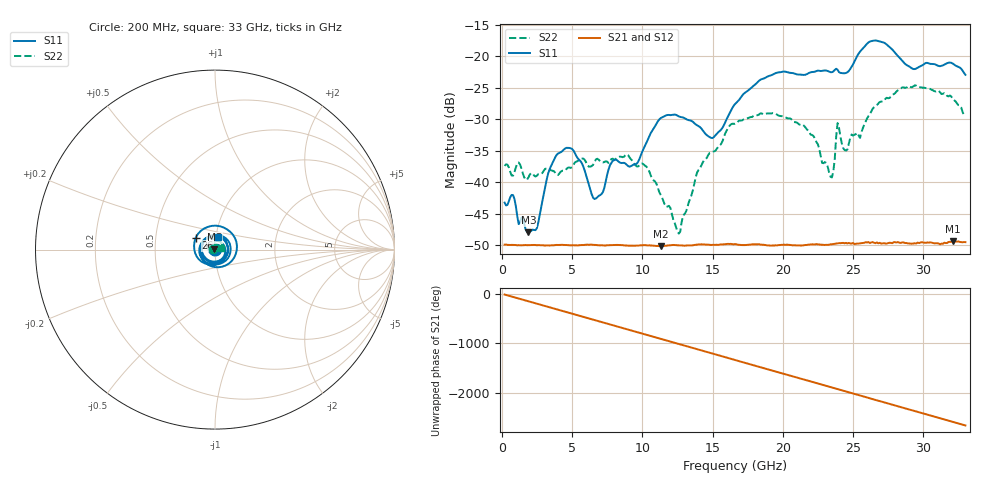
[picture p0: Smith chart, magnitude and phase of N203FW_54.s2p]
# GHZ S RI R 50
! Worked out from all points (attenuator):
!   329 points, 200 MHz to 33 GHz, reference 50 ohm
!   highest |S21| = -49.44 dB at 32.1 GHz (marker M1); lowest = -50.2 dB at 11.3 GHz (marker M2)
!   lowest |S11| = -48.0 dB at 1.9 GHz (marker M3), VSWR 1.01, Z = 49.7 + j0.237 ohm
!   |S11| at or under -10 dB: start of sweep to end of sweep
!   |S22| runs from -48.2 to -24.6 dB; largest |S21 - S12| = 8.7e-05
!   S11 on the Smith chart (normalised r, x): 200 MHz: 1.01, -0.00; 26 GHz: 0.80, +0.11; 33 GHz: 1.03, +0.14
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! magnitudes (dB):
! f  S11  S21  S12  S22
! 200 MHz  -43.3  -50.0  -49.9  -37.4
! 800 MHz  -42.1  -50.0  -50.0  -39.0
! 1.9 GHz  -48.0  -50.0  -50.0  -39.3
! 2.5 GHz  -47.3  -50.0  -50.0  -39.0
! 3.9 GHz  -35.7  -50.0  -50.0  -38.8
! 5.7 GHz  -37.0  -50.0  -50.0  -36.3
! 6.7 GHz  -42.6  -50.0  -50.0  -36.4
! 7.9 GHz  -36.6  -50.0  -50.0  -36.3
! 8.9 GHz  -37.3  -50.1  -50.1  -35.6
! 11.2 GHz  -30.1  -50.2  -50.2  -41.6
! 11.3 GHz  -29.8  -50.2  -50.2  -42.0
! 12.6 GHz  -29.5  -50.1  -50.0  -48.2
! 15 GHz  -33.0  -50.0  -50.0  -35.2
! 16.6 GHz  -27.6  -49.9  -49.9  -30.7
! 22.1 GHz  -22.5  -49.9  -49.9  -32.5
! 23.5 GHz  -22.5  -49.9  -49.8  -39.3
! 23.9 GHz  -22.1  -49.8  -49.8  -30.6
! 24.5 GHz  -22.7  -49.7  -49.7  -35.0
! 26 GHz  -18.0  -49.6  -49.6  -29.9
! 27.6 GHz  -18.5  -49.7  -49.7  -26.6
! 32.1 GHz  -21.2  -49.4  -49.4  -26.8
! 33 GHz  -22.9  -49.6  -49.6  -29.5
